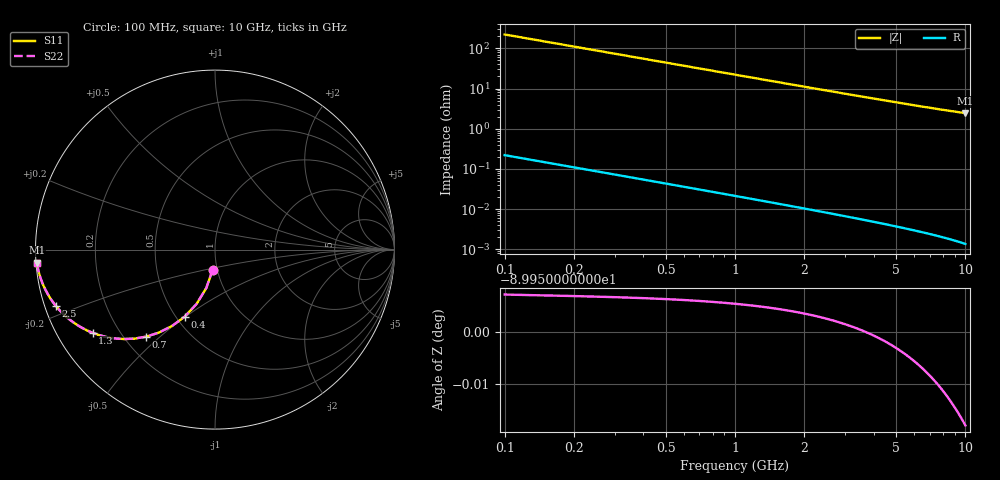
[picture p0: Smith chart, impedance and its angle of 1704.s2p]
# Hz S RI R 50.00
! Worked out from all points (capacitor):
!   100 points, 100 MHz to 10 GHz, reference 50 ohm
!   read as one part in shunt: C = 7.18 pF near 100 MHz
!   lowest |Z| = 2.46 ohm at 10 GHz (marker M1)
!   S11 on the Smith chart (normalised r, x): 100 MHz: 0.95, -0.21; 400 MHz: 0.55, -0.50; 700 MHz: 0.29, -0.45; 1.3 GHz: 0.11, -0.30; 2.5 GHz: 0.03, -0.17; 10 GHz: 0.00, -0.04
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1e8  -0.0126 -0.1112  0.9873 -0.1114  0.9873 -0.1114  -0.0126 -0.1112
2e8  -0.0485 -0.2142  0.9514 -0.2147  0.9514 -0.2147  -0.0485 -0.2142
3e8  -0.1028 -0.3029  0.8971 -0.3036  0.8971 -0.3036  -0.1028 -0.3029
4e8  -0.1692 -0.374  0.8308 -0.3749  0.8308 -0.3749  -0.1692 -0.374
5e8  -0.2413 -0.4268  0.7587 -0.4279  0.7587 -0.4279  -0.2413 -0.4268
6e8  -0.314 -0.4629  0.686 -0.4643  0.686 -0.4643  -0.314 -0.4629
7e8  -0.3837 -0.485  0.6162 -0.4866  0.6162 -0.4866  -0.3837 -0.485
8e8  -0.4484 -0.4959  0.5515 -0.4978  0.5515 -0.4978  -0.4484 -0.4959
1e9  -0.5594 -0.4948  0.4405 -0.4971  0.4405 -0.4971  -0.5594 -0.4948
1.1e9  -0.6057 -0.4869  0.3943 -0.4895  0.3943 -0.4895  -0.6057 -0.4869
1.3e9  -0.682 -0.4637  0.318 -0.4667  0.318 -0.4667  -0.682 -0.4637
1.5e9  -0.7405 -0.4361  0.2594 -0.4395  0.2594 -0.4395  -0.7405 -0.4361
1.8e9  -0.8042 -0.3942  0.1957 -0.3983  0.1957 -0.3983  -0.8042 -0.3942
2.1e9  -0.8482 -0.3558  0.1517 -0.3607  0.1517 -0.3607  -0.8482 -0.3558
2.5e9  -0.8879 -0.3121  0.112 -0.3178  0.112 -0.3178  -0.8879 -0.3121
2.9e9  -0.9142 -0.2761  0.0857 -0.2828  0.0857 -0.2828  -0.9142 -0.2761
3.4e9  -0.9361 -0.24  0.0638 -0.2479  0.0638 -0.2479  -0.9361 -0.24
4.2e9  -0.9572 -0.1968  0.0426 -0.2066  0.0426 -0.2066  -0.9572 -0.1968
5.1e9  -0.9706 -0.162  0.0292 -0.174  0.0292 -0.174  -0.9706 -0.162
6.7e9  -0.9829 -0.1207  0.0169 -0.1367  0.0169 -0.1367  -0.9829 -0.1207
8.4e9  -0.9891 -0.0921  0.0106 -0.1125  0.0106 -0.1125  -0.9891 -0.0921
1e10  -0.9924 -0.0729  0.00722 -0.0976  0.00722 -0.0976  -0.9924 -0.0729
